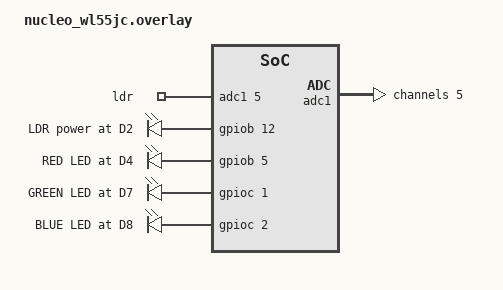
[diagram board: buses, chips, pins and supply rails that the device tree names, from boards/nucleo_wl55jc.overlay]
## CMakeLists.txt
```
# SPDX-License-Identifier: Apache-2.0

cmake_minimum_required(VERSION 3.20.0)

find_package(Zephyr REQUIRED HINTS $ENV{ZEPHYR_BASE})
project(brightness_control)

target_sources(app PRIVATE
    src/main.c
    src/control.c
    src/sensors.c
    src/ldr.c
    src/gpio.c
    src/rgb.c
    src/button.c
)

target_include_directories(app PRIVATE)
```

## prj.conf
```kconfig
CONFIG_STDOUT_CONSOLE=y
CONFIG_UART_CONSOLE=y
CONFIG_CONSOLE=y
CONFIG_PRINTK=y

CONFIG_EVENTS=y

CONFIG_LOG=y
CONFIG_GPIO=y
CONFIG_ADC=y
CONFIG_POLL=y

CONFIG_PM=y
CONFIG_PM_POLICY_DEFAULT=y
CONFIG_TICKLESS_KERNEL=y
CONFIG_RESET=y

CONFIG_PM_DEVICE=y
CONFIG_PM_DEVICE_SYSTEM_MANAGED=n
CONFIG_PM_DEVICE_RUNTIME=y

# Control runs in main. Keep it above the sensors thread (7), as the old
# control thread was, instead of the default main priority 0.
CONFIG_MAIN_THREAD_PRIORITY=6
```

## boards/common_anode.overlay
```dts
/* For common anode RGB */
#include <zephyr/dt-bindings/gpio/gpio.h>

&external_led_0 { gpios = <&gpiob 5 GPIO_ACTIVE_LOW>; };
&external_led_1 { gpios = <&gpioc 1 GPIO_ACTIVE_LOW>; };
&external_led_2 { gpios = <&gpioc 2 GPIO_ACTIVE_LOW>; };
```

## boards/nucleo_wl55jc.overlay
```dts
#include <zephyr/dt-bindings/pinctrl/stm32-pinctrl.h>
#include <zephyr/dt-bindings/gpio/gpio.h>
#include <zephyr/dt-bindings/adc/adc.h>

/ {
    zephyr,user {
        io-channels = <&adc1 5>;
        io-channel-names = "ldr";
    };

    aliases {
        ldrpower = &ldr_power;
		red = &external_led_0;
		green = &external_led_1;
		blue = &external_led_2;
    };

    leds {
        compatible = "gpio-leds";

        ldr_power: led_external_0 {
            gpios = <&gpiob 12 GPIO_ACTIVE_HIGH>;
            label = "LDR power at D2";
        };
		external_led_0: led_external_1 {
            gpios = <&gpiob 5 GPIO_ACTIVE_HIGH>;
            label = "RED LED at D4";
        };
		external_led_1: led_external_2 {
            gpios = <&gpioc 1 GPIO_ACTIVE_HIGH>;
            label = "GREEN LED at D7";
        };
		external_led_2: led_external_3 {
            gpios = <&gpioc 2 GPIO_ACTIVE_HIGH>;
            label = "BLUE LED at D8";
        };
    };
};

&adc1 {
    #address-cells = <1>;
    #size-cells = <0>;
    status = "okay";

    channel@5 {
        reg = <5>;
        zephyr,gain = "ADC_GAIN_1";
        zephyr,reference = "ADC_REF_INTERNAL";
        zephyr,acquisition-time = <ADC_ACQ_TIME_DEFAULT>;
        zephyr,resolution = <12>;
    };
};
```

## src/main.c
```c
#include <zephyr/kernel.h>
#include <zephyr/logging/log.h>
#include <zephyr/drivers/gpio.h>
#include <zephyr/sys/printk.h>
#include "interface.h"
#include "control.h"

LOG_MODULE_REGISTER(main, LOG_LEVEL_INF);

// Instantiating message queues for LDR and Button data
K_MSGQ_DEFINE(q_ldr_data, sizeof(ldr_t), MAX_NUMBER_OF_MESSAGES, 1);
K_MSGQ_DEFINE(q_button_data, sizeof(button_type_of_event_t), MAX_NUMBER_OF_MESSAGES, 1);

int main(void)
{
	printk("  Embedded Platforms and Communications for IoT\n \
              Brightness Control\n \
              GitHub Repo: \n \
                https://github.com/master-iot-embedded-group-e/brightness_control\n \
              Authors:\n \
                - Omar Pineiro\n \
                - Carlos Egea\n\n");
	// The main thread runs the control logic instead of sleeping forever: its
	// stack (CONFIG_MAIN_STACK_SIZE) is reused rather than adding another thread.
	// control_run() only returns if initialization failed.
	int err = control_run();
	LOG_ERR("control stopped: %d", err);
	return err;
}
```

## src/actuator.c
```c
#include <zephyr/kernel.h>
#include <zephyr/logging/log.h>
#include "interface.h"
#include "rgb.h"

#define STACK_SIZE 1024
#define PRIORITY 7

LOG_MODULE_REGISTER(actuator, LOG_LEVEL_INF);

void actuator_thread_run(void *p1, void *p2, void *p3)
{
    rgb_t rgb;
    int ret = rgb_init();
    if (ret < 0)
    {
        LOG_ERR("initializing RGB");
        return;
    }

    LOG_INF("thread init");

    while (1)
    {
        if (k_msgq_get(&q_rgb_data, &rgb, K_FOREVER) == 0)
        {
            if (rgb.red)
            {
                red_on();
            }
            else
            {
                red_off();
            }
            if (rgb.green)
            {
                green_on();
            }
            else
            {
                green_off();
            }
            if (rgb.blue)
            {
                blue_on();
            }
            else
            {
                blue_off();
            }
        }
    }
}

K_THREAD_DEFINE(actuator_thread_id, STACK_SIZE, actuator_thread_run,
                NULL, NULL, NULL, PRIORITY, 0, 0);
```

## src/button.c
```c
#include "button.h"
#include "gpio.h"
#include "interface.h"
#include <zephyr/kernel.h>
#include <zephyr/logging/log.h>

LOG_MODULE_REGISTER(button, LOG_LEVEL_INF);

#define DEBOUNCE_DELAY_MS 60
#define LONG_PRESS_DELAY_MS 1000

static const struct gpio_dt_spec button = GPIO_DT_SPEC_GET(DT_ALIAS(sw1), gpios);
static struct gpio_callback callback;

// Event handling
static uint32_t pressed_at;
static bool held, long_sent;
static void debounce_handler(struct k_work *work);
static void long_handler(struct k_work *work);

// Sync mechanism
K_WORK_DELAYABLE_DEFINE(debounce_work, debounce_handler);
K_WORK_DELAYABLE_DEFINE(long_work, long_handler);

/**
 * Send a button event to the message queue.
 */
static void send_event(button_type_of_event_t event)
{
    LOG_DBG("sending event %d", event);
    // Rate-limited: if the consumer stalls, every press would log otherwise.
    if (k_msgq_put(&q_button_data, &event, K_NO_WAIT) != 0)
        LOG_WRN("event queue full, event %d dropped", event);
}

/**
 * K_WORK_DELAYABLE handler for long press events.
 * This function is called when the long press delay
 * has elapsed to check if the button is still held.
 */
static void long_handler(struct k_work *work)
{
    if (held && !long_sent && gpio_get_value(&button) == 1)
    {
        long_sent = true;
        send_event(BUTTON_LONG_PRESS);
    }
}

/**
 * K_WORK_DELAYABLE handler for debounce events.
 * This function is called after a short delay to handle
 * button state changes and determine if a short or long
 * press event should be sent.
 */
static void debounce_handler(struct k_work *work)
{
    int level = gpio_get_value(&button);
    if (level < 0)
    {
        LOG_ERR("reading button level: %d", level);
        return;
    }
    // Ignore unchanged state (possible with button bouncing).
    if ((level == 1) == held)
        return;

    held = (level == 1);
    // If the button is now held, start the long press timer.
    if (held)
    {
        pressed_at = k_uptime_get_32();
        long_sent = false;
        k_work_reschedule(&long_work, K_MSEC(LONG_PRESS_DELAY_MS));
        return;
    }

    // Cancel the long press work since the button is no longer held.
    k_work_cancel_delayable(&long_work);

    // If the button was held long enough to trigger a long press, ignore the short press.
    if (long_sent)
        return;
    // Calculate the duration the button was held.
    uint32_t duration = k_uptime_get_32() - pressed_at;
    // Determine if the button press qualifies as a long or short press.
    duration >= LONG_PRESS_DELAY_MS
        ? send_event(BUTTON_LONG_PRESS)
        : send_event(BUTTON_SHORT_PRESS);
}

static void button_changed(
    const struct device *dev,
    struct gpio_callback *cb,
    gpio_port_pins_t pins)
{
    /**
     * Reschedule the debounce work to handle button state
     * changes after a short delay. Prevents button bouncing.
     */
    k_work_reschedule(&debounce_work, K_MSEC(DEBOUNCE_DELAY_MS));
}

int button_init(void)
{
    return gpio_input_init(&button, &callback, button_changed);
}
```

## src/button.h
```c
#ifndef BUTTON_H
#define BUTTON_H

#include <stdint.h>
#include "interface.h"

int button_init(void);

#endif /* BUTTON_H */
```

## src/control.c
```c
#include <zephyr/kernel.h>
#include <zephyr/logging/log.h>
#include "interface.h"
#include "control.h"
#include "rgb.h"

LOG_MODULE_REGISTER(control, LOG_LEVEL_INF);

K_EVENT_DEFINE(e_enable_devices);

typedef enum
{
	BLUE,
	NORMAL,
	OFF
} Fsm_t;
static const char *state_string[3] = {"BLUE", "NORMAL", "OFF"};

// Colour last written to the LED. Local to this file now that it no longer
// travels between threads.
typedef struct
{
	bool blue;
	bool red;
	bool green;
} rgb_t;

static bool rgb_equal(const rgb_t *a, const rgb_t *b)
{
	return a->red == b->red && a->green == b->green && a->blue == b->blue;
}

static void set_rgb_color(rgb_t *last_rgb, bool red, bool green, bool blue)
{
	const rgb_t rgb = {.red = red, .green = green, .blue = blue};

	// fsm() runs on every LDR sample (2 s): only touch the GPIOs when the
	// colour actually changes.
	if (rgb_equal(&rgb, last_rgb))
	{
		return;
	}

	int err = rgb_set(red, green, blue);
	if (err < 0)
	{
		// last_rgb is kept, so the next fsm() call retries the write.
		LOG_ERR("could not set the RGB LED: %d", err);
		return;
	}
	*last_rgb = rgb;
}

static void fsm(Fsm_t *state, ldr_t *ldr, rgb_t *last_rgb, button_type_of_event_t *button_event)
{
	// State evaluation
	Fsm_t new_state = *state;
	switch (*button_event)
	{
	case BUTTON_SHORT_PRESS:
		new_state = (*state + NORMAL) & 0x01;
		break;

	case BUTTON_LONG_PRESS:
		new_state = OFF;
		break;

	case NO_PRESSED:
		break;

	default:
		//*state = NORMAL;
		LOG_ERR("FSM: Unexpected press button duration: %d", *button_event);
		break;
	}

	// Evaluate and store new state
	if (*state != new_state)
	{
		LOG_INF("fsm: %s", state_string[new_state]);
		if (new_state == OFF)
		{
			LOG_INF("System OFF");
		}
	}
	*state = new_state;

	// Reset event driven variables for the next one
	*button_event = NO_PRESSED;

	// Evaluate outputs
	switch ((uint8_t)*state)
	{
	case NORMAL:
		k_event_post(&e_enable_devices, EV_ADC_ON);
		if (ldr->brightness < 33)
		{
			set_rgb_color(last_rgb, true, false, false);
		}
		else if (ldr->brightness <= 66 && ldr->brightness >= 33)
		{
			set_rgb_color(last_rgb, true, true, false);
		}
		else if (ldr->brightness > 66)
		{
			set_rgb_color(last_rgb, false, true, false);
		}
		break;

	case BLUE:
		set_rgb_color(last_rgb, false, false, true);
		k_event_clear(&e_enable_devices, EV_ADC_ON);
		break;

	case OFF:
		set_rgb_color(last_rgb, false, false, false);
		k_event_clear(&e_enable_devices, EV_ADC_ON);
		break;

	default:
		LOG_WRN("Unexpected state: %d", (uint8_t)*state);
		break;
	}
}

int control_run(void)
{
	ldr_t ldr_data = {
		.brightness = 0,
	};
	Fsm_t fsm_state = NORMAL;
	// The LEDs are configured GPIO_OUTPUT_INACTIVE, so they start off.
	rgb_t last_rgb = {0};
	button_type_of_event_t button_event = NO_PRESSED;

	// Create poll structures
	struct k_poll_event events[2] = {
		K_POLL_EVENT_INITIALIZER(
			K_POLL_TYPE_MSGQ_DATA_AVAILABLE,
			K_POLL_MODE_NOTIFY_ONLY,
			&q_button_data),
		K_POLL_EVENT_INITIALIZER(
			K_POLL_TYPE_MSGQ_DATA_AVAILABLE,
			K_POLL_MODE_NOTIFY_ONLY,
			&q_ldr_data)};

	int err = rgb_init();
	if (err < 0)
	{
		LOG_ERR("could not initialize the RGB LED: %d", err);
		return err;
	}

	// Enable at init the ADC measurements.
	k_event_post(&e_enable_devices, EV_ADC_ON);

	// Wait for the first valid LDR measurement before starting the control logic
	if (k_msgq_get(&q_ldr_data, &ldr_data, K_FOREVER) == 0)
	{
		// Zephyr API requests to reset the event state after attending it.
		events[1].state = K_POLL_STATE_NOT_READY;
	}

	LOG_INF("control init");
	LOG_INF("fsm: %s", state_string[fsm_state]);
	// This first call has ldr data so the LED turns on without additional 2 sec wait
	fsm(&fsm_state, &ldr_data, &last_rgb, &button_event);

	while (1)
	{

		// This is where the thread actually stops until new events
		if (k_poll(events, ARRAY_SIZE(events), K_FOREVER) != 0)
		{
			continue;
		}

		// Zephyr API doc/kernel/services/polling.rst
		if (events[0].state == K_POLL_STATE_MSGQ_DATA_AVAILABLE)
		{
			// We need a loop in case there are several events in he queue
			while (k_msgq_get(&q_button_data, &button_event, K_NO_WAIT) == 0)
			{
				switch (button_event)
				{
				case BUTTON_SHORT_PRESS:
					LOG_INF("short press");
					break;
				case BUTTON_LONG_PRESS:
					LOG_INF("long press");
					break;
				case NO_PRESSED:
					break;
				default:
					LOG_WRN("unexpected button event type: %d", button_event);
					break;
				}
				fsm(&fsm_state, &ldr_data, &last_rgb, &button_event);
				// Zephyr API requests to reset the event state after attending it.
				// doc/kernel/services/polling.rst
				events[0].state = K_POLL_STATE_NOT_READY;
			}
		}
		else if (events[1].state == K_POLL_STATE_MSGQ_DATA_AVAILABLE)
		{
			// Queued lectures would be read in the next lopp as k_poll would return another one.
			if (k_msgq_get(&q_ldr_data, &ldr_data, K_NO_WAIT) == 0)
			{
				fsm(&fsm_state, &ldr_data, &last_rgb, &button_event);
				// Zephyr API requests to reset the event state after attending it.
				events[1].state = K_POLL_STATE_NOT_READY;
			}
		}
	}
}
```

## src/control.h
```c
#ifndef CONTROL_H
#define CONTROL_H

/*
 * Runs the control FSM in the calling thread (main). It never returns unless
 * initialization fails, in which case it returns the negative error code.
 */
int control_run(void);

#endif /* CONTROL_H */
```

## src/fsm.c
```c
#include <zephyr/kernel.h>
#include "interface.h"
#include "button.h"

#define STACK_SIZE 1024
#define PRIORITY 6 // Set higher priority for fast processing

void fsm_thread(void *p1, void *p2, void *p3)
{
    struct ldr_t ldr;
    struct rgb_t rgb;
    struct rgb_t last_rgb = {0};
    bool last_rgb_valid = false;

    button_init();
    struct button_events_t button_event;
    struct k_poll_event events[] = {
        K_POLL_EVENT_INITIALIZER(
            K_POLL_TYPE_MSGQ_DATA_AVAILABLE,
            K_POLL_MODE_NOTIFY_ONLY, 
            &q_button_data
        ),
        K_POLL_EVENT_INITIALIZER(
            K_POLL_TYPE_MSGQ_DATA_AVAILABLE,
            K_POLL_MODE_NOTIFY_ONLY, 
            &q_ldr_data
        )
    };

    printk("    FSM thread init   \n");

    while (1) {
        events[0].state = K_POLL_STATE_NOT_READY;
        events[1].state = K_POLL_STATE_NOT_READY;

        if (k_poll(events, ARRAY_SIZE(events), K_FOREVER) != 0) {
            continue;
        }

        while (k_msgq_get(&q_button_data, &button_event, K_NO_WAIT) == 0) {
            switch (button_event.event) {
            case BUTTON_SHORT_PRESS:
                printk("FSM: short press\n");
                break;
            case BUTTON_LONG_PRESS:
                printk("FSM: long press\n");
                break;
            }
        }

        if (k_msgq_get(&q_ldr_data, &ldr, K_NO_WAIT) == 0) {
            rgb.blue = false;

            if (ldr.brightness < 33) {
                rgb.red = true;
                rgb.green = false;
            } else if (ldr.brightness <= 66) {
                rgb.red = true;
                rgb.green = true;
            } else {
                rgb.red = false;
                rgb.green = true;
            }

            if (!last_rgb_valid ||
                rgb.red != last_rgb.red ||
                rgb.green != last_rgb.green ||
                rgb.blue != last_rgb.blue) {
                if (k_msgq_put(&q_rgb_data, &rgb, K_MSEC(10)) == 0) {
                    last_rgb = rgb;
                    last_rgb_valid = true;
                }
            }
        }
    }
}

K_THREAD_DEFINE(fsm_thread_id, STACK_SIZE, fsm_thread,
                NULL, NULL, NULL, PRIORITY, 0, 0);
```

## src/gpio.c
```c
// Primero el propio header: así el compilador comprueba que las definiciones
// de este fichero coinciden con las declaraciones públicas.
#include "gpio.h"

#include <zephyr/kernel.h>
#include <zephyr/device.h>
#include <zephyr/pm/device_runtime.h>
#include <zephyr/logging/log.h>
#include <errno.h>
#include <zephyr/drivers/gpio.h>

LOG_MODULE_REGISTER(gpio, LOG_LEVEL_INF);

static int gpio_init(const struct gpio_dt_spec *gpio, gpio_flags_t flags)
{
    if (!gpio_is_ready_dt(gpio))
    {
        LOG_ERR("%s pin %d: port not ready", gpio->port->name, gpio->pin);
        return -ENODEV;
    }

    int ret;
    ret = gpio_pin_configure_dt(gpio, flags);
    if (ret < 0)
    {
        LOG_ERR("%s pin %d: configure failed: %d", gpio->port->name, gpio->pin, ret);
        return ret;
    }

    return 0;
}

int gpio_output_init(const struct gpio_dt_spec *gpio)
{
    return gpio_init(gpio, GPIO_OUTPUT_INACTIVE);
}

int gpio_input_init(const struct gpio_dt_spec *gpio, struct gpio_callback *callback, gpio_callback_handler_t handler)
{
    int ret;
    ret = gpio_init(gpio, GPIO_INPUT);
    if (ret < 0)
    {
        LOG_ERR("%s pin %d: input init failed: %d", gpio->port->name, gpio->pin, ret);
        return ret;
    }

    gpio_init_callback(callback, handler, BIT(gpio->pin));

    ret = gpio_add_callback(gpio->port, callback);
    if (ret < 0)
    {
        LOG_ERR("%s pin %d: adding callback failed: %d", gpio->port->name, gpio->pin, ret);
        return ret;
    }
    ret = gpio_pin_interrupt_configure_dt(gpio, GPIO_INT_EDGE_BOTH);
    if (ret < 0)
    {
        LOG_ERR("%s pin %d: configuring interrupt failed: %d", gpio->port->name, gpio->pin, ret);
        return ret;
    }

    return ret;
}

int gpio_power_on(const struct gpio_dt_spec *gpio)
{
    int ret;
    ret = gpio_pin_set_dt(gpio, 1);
    if (ret < 0)
    {
        LOG_ERR("%s pin %d: set active failed: %d", gpio->port->name, gpio->pin, ret);
        return ret;
    }

    return 0;
}

int gpio_power_off(const struct gpio_dt_spec *gpio)
{
    int ret;
    ret = gpio_pin_set_dt(gpio, 0);
    if (ret < 0)
    {
        LOG_ERR("%s pin %d: set inactive failed: %d", gpio->port->name, gpio->pin, ret);
        return ret;
    }

    return 0;
}

int gpio_get_value(const struct gpio_dt_spec *gpio)
{
    return gpio_pin_get_dt(gpio);
}
```

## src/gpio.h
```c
#ifndef GPIO_H
#define GPIO_H

#include <stdint.h>
#include <zephyr/drivers/gpio.h>

int gpio_output_init(const struct gpio_dt_spec *gpio);
int gpio_input_init(
    const struct gpio_dt_spec *gpio,
    struct gpio_callback *callback,
    gpio_callback_handler_t handler);
int gpio_power_on(const struct gpio_dt_spec *gpio);
int gpio_power_off(const struct gpio_dt_spec *gpio);
int gpio_get_value(const struct gpio_dt_spec *gpio);

#endif /* GPIO_H */
```

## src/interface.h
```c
#ifndef INTERFACE_H
#define INTERFACE_H

#include <zephyr/kernel.h>

/* 1. Estructuras de datos que viajan entre hilos */
typedef struct
{
    uint16_t brightness;
} ldr_t;

typedef enum
{
    NO_PRESSED,
    BUTTON_SHORT_PRESS,
    BUTTON_LONG_PRESS,
} button_type_of_event_t;

/*
Read https://docs.zephyrproject.org/latest/kernel/services/data_passing/message_queues.html#defining-a-message-queue
*/
#define MAX_NUMBER_OF_MESSAGES 10
extern struct k_msgq q_ldr_data;
extern struct k_msgq q_button_data;

// Event to signal de ADC to stop
#define EV_ADC_ON BIT(0)
extern struct k_event e_enable_devices;

#endif /* INTERFACE_H */
```

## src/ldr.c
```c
// Primero el propio header: así el compilador comprueba que las definiciones
// de este fichero coinciden con las declaraciones públicas.
#include "ldr.h"
#include "gpio.h"

#include <zephyr/kernel.h>
#include <zephyr/device.h>
#include <zephyr/logging/log.h>
#include <zephyr/drivers/adc.h>
#include <zephyr/pm/device_runtime.h>
#include <errno.h>
#include <zephyr/drivers/gpio.h>

#define ADC_RESOLUTION 12

/*
 * Define whether the LDR should always remain powered on or not
 * (1 = always on for debugging purposes, 0 = power off after each read)
 */
#define LDR_ALWAYS_ON 0

LOG_MODULE_REGISTER(ldr, LOG_LEVEL_INF);

static const struct adc_dt_spec ldr =
    ADC_DT_SPEC_GET_BY_NAME(DT_PATH(zephyr_user), ldr);
static const struct gpio_dt_spec ldr_power =
    GPIO_DT_SPEC_GET(DT_ALIAS(ldrpower), gpios);

static int ldr_power_on(void)
{
    LOG_DBG("Turning on LDR power");
    int ret = gpio_power_on(&ldr_power);
    if (ret < 0)
    {
        LOG_ERR("could not activate LDR power: %d", ret);
        return ret;
    }
    // Wait for the voltage to stabilize before reading.
    k_busy_wait(1000);
    // Ensure the ADC is active before attempting to read from it.
    ret = pm_device_runtime_get(ldr.dev);
    if (ret < 0)
    {
        LOG_ERR("could not reactivate ADC: %d", ret);
        // Turn off the LDR power if the ADC could not be reactivated.
        gpio_power_off(&ldr_power);
        return ret;
    }
    LOG_DBG("LDR power turned on");
    return 0;
}

static int ldr_power_off(void)
{
    LOG_DBG("Turning off LDR power");
    // Release the ADC device before turning off the LDR power.
    int ret = pm_device_runtime_put(ldr.dev);
    if (ret < 0)
    {
        LOG_ERR("could not release ADC: %d", ret);
        return ret;
    }
#if LDR_ALWAYS_ON
    LOG_DBG("LDR power kept on (LDR_ALWAYS_ON)");
#else
    // Turn off the LDR power.
    ret = gpio_power_off(&ldr_power);
    if (ret < 0)
    {
        LOG_ERR("could not deactivate LDR power: %d", ret);
        return ret;
    }
#endif
    return 0;
}

int ldr_init(void)
{
    int ret;
    // Initialize the GPIO that powers the LDR.
    ret = gpio_output_init(&ldr_power);
    if (ret < 0)
        return ret;

    if (!adc_is_ready_dt(&ldr))
    {
        LOG_ERR("ADC not ready");
        return -1;
    }

    // Set up the ADC channel while the ADC is active.
    ret = adc_channel_setup_dt(&ldr);
    if (ret < 0)
    {
        LOG_ERR("could not configure ADC: %d", ret);
        return ret;
    }

    // Enable Runtime PM for the ADC device.
    ret = pm_device_runtime_enable(ldr.dev);
    if (ret < 0)
    {
        LOG_ERR("could not enable Runtime PM: %d", ret);
        return ret;
    }

    LOG_INF("init");
    return 0;
}

static uint8_t raw_to_percentage(uint16_t raw)
{
    return (raw * 100) / ((1 << ADC_RESOLUTION) - 1);
}

int ldr_read(uint8_t *percentage)
{
    if (percentage == NULL)
    {
        return -EINVAL;
    }

    int ret = ldr_power_on();
    if (ret < 0)
    {
        LOG_ERR("could not turn on LDR power: %d", ret);
        return ret;
    }

    LOG_DBG("Reading LDR value");
    uint16_t sample;
    struct adc_sequence sequence = {
        .buffer = &sample,
        .buffer_size = sizeof(sample),
        .resolution = ADC_RESOLUTION,
    };
    ret = adc_sequence_init_dt(&ldr, &sequence);
    if (ret < 0)
    {
        LOG_ERR("could not initialize sequence: %d", ret);
    }
    else
    {
        ret = adc_read_dt(&ldr, &sequence);
        if (ret < 0)
        {
            LOG_ERR("ADC read failed: %d", ret);
        }
    }

    int ret_off = ldr_power_off();
    if (ret < 0)
        return ret;
    if (ret_off < 0)
    {
        LOG_ERR("could not turn off LDR power: %d", ret_off);
        return ret_off;
    }

    LOG_DBG("LDR read complete: %d", sample);

    *percentage = raw_to_percentage(sample);
    return 0;
}
```

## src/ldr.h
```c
#ifndef LDR_H
#define LDR_H

#include <stdint.h>

int ldr_init(void);
int ldr_read(uint8_t *percentage);

#endif /* LDR_H */
```

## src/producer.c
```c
#include <zephyr/kernel.h>
#include "interface.h"
#include "ldr.h"

#define STACK_SIZE 1024
#define PRIORITY 7

void producer_thread(void *p1, void *p2, void *p3)
{
    struct ldr_t ldr;

    printk("    Producer thread init   \n");
    if (ldr_init() < 0) {
        printk("ERROR: could not initialize LDR\n");
        return;
    }

    while (1) {
        uint8_t ldr_percentage;
        int ret = ldr_read(&ldr_percentage);
        if (ret < 0) {
            printk("ERROR: could not read LDR: %d\n", ret);
            return;
        }
        printk("LDR reading as percentage: %d%%\n", ldr_percentage);
        // Convert LDR reading to brightness (inverted percentage)
        ldr.brightness = 100 - ldr_percentage; 
        ldr.timestamp = k_uptime_get_32();

        // Send the LDR data to the message queue. If the queue is full, wait up to 10ms.
        k_msgq_put(&q_ldr_data, &ldr, K_MSEC(10));

        k_msleep(2000);
    }
}

// Register and start the producer thread automatically using Zephyr's macro.
K_THREAD_DEFINE(producer_thread_id, STACK_SIZE, producer_thread,
                NULL, NULL, NULL, PRIORITY, 0, 0);
```
